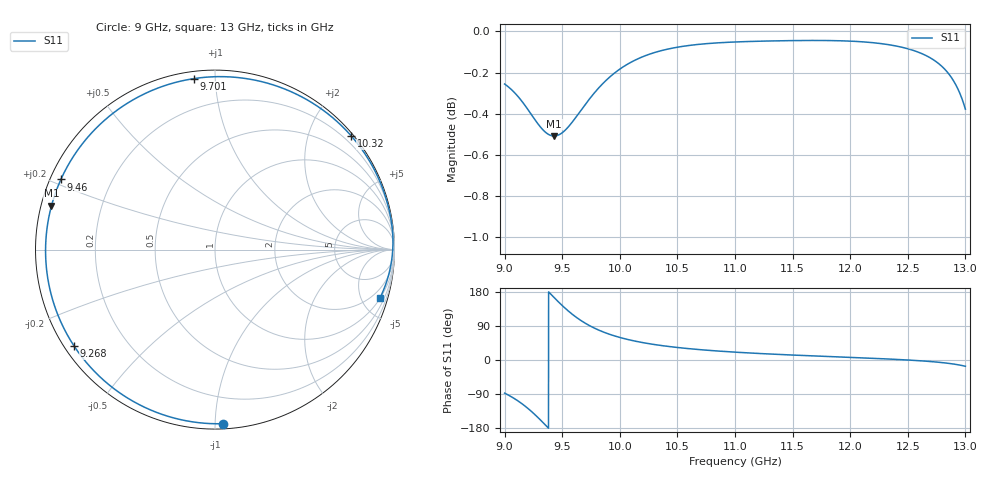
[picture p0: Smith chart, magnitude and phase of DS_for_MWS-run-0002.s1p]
! TOUCHSTONE file generated by CST DESIGN STUDIO
! Date and time: Tue Feb  4 13:51:18 2025
! Project name: C:\Work\MatlabApps\UnitCellOptimizationMatlab\CST\unitcell.cst
! Tree item: Tasks\Sweep1\SPara1\S-Parameters
! Header version: 2024
! Port assignment regex: !\s*Touchstone port\s*([0-9]+)\s*=\s*(CST MWS port|CST DES external port|CST DES block port)\s*(.+)\s* \(\"(.*)\"\)(\s*mode\s*([0-9]+))?.*
! Touchstone port assignment:
! Touchstone port 1 = CST DES external port 1 ("")
# GHz S MA R 50
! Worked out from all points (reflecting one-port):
!   4001 points, 9 GHz to 13 GHz, reference 50 ohm
!   lowest |S11| = -0.5 dB at 9.429 GHz (marker M1), VSWR 34.18, Z = 1.49 + j6.57 ohm
!   phase of S11 starts at -87 deg and turns -289 deg over the sweep
!   S11 on the Smith chart (normalised r, x): 9 GHz: 0.03, -1.05; 9.268 GHz: 0.03, -0.31; 9.46 GHz: 0.03, +0.22; 9.701 GHz: 0.04, +0.89; 10.32 GHz: 0.05, +2.77; 13 GHz: 1.03, -6.73
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9  0.971 -87.4
9.079  0.9668 -100.7
9.146  0.962 -114.4
9.208  0.9567 -129.2
9.268  0.9514 -145.5
9.311  0.9479 -158.2
9.351  0.9453 -170.6
9.39  0.9437 177.2
9.429  0.9431 165.0
9.46  0.9435 155.5
9.5  0.9449 143.8
9.547  0.9476 130.9
9.595  0.9511 118.9
9.646  0.9554 107.6
9.701  0.96 96.9
9.772  0.9656 85.2
9.843  0.9706 75.6
9.918  0.9751 67.1
10  0.9791 59.5
10.147  0.9845 48.9
10.324  0.9887 39.7
10.5  0.9912 33.0
11  0.9941 20.7
11.5  0.9949 13.1
12  0.9946 6.9
12.5  0.9903 -0.0
12.794  0.9807 -6.7
13  0.9574 -16.5
